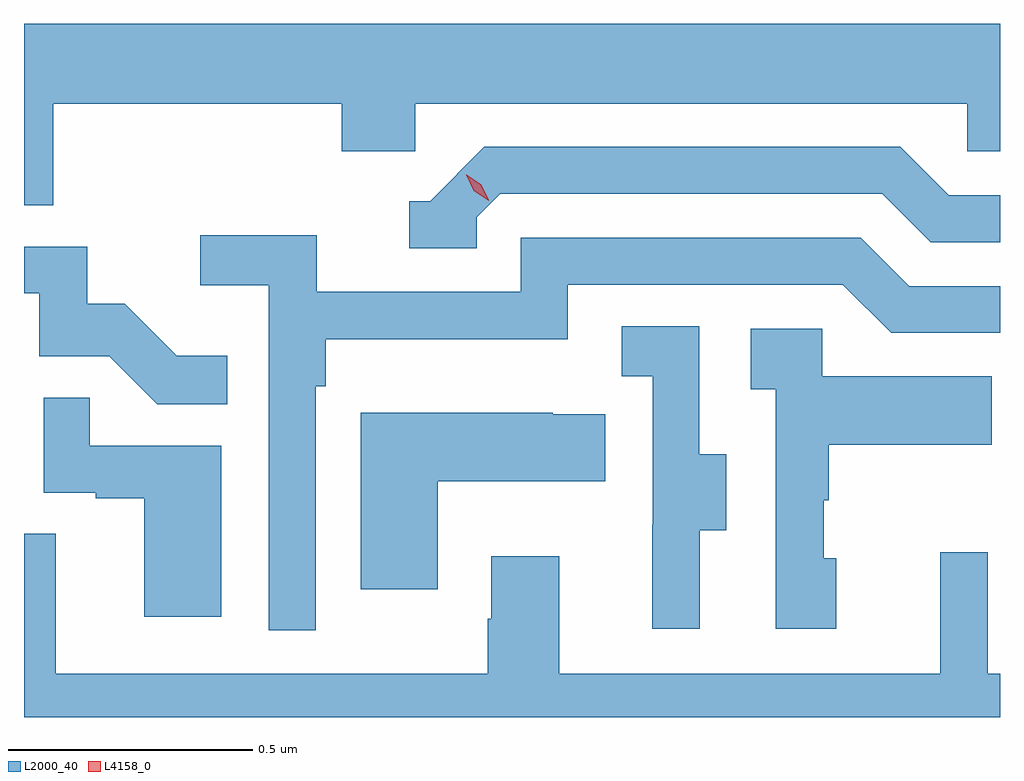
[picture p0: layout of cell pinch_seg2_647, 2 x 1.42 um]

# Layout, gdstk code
import gdstk
lib = gdstk.Library(unit=1e-6, precision=1e-09)
def P(c, l, *ps):  # polygons
    for p in ps: c.add(gdstk.Polygon(p, *l))
L2000_40 = (2000, 40)
L4158_0 = (4158, 0)

pinch_seg2_647 = lib.new_cell('pinch_seg2_647')
P(pinch_seg2_647, L2000_40, [(1068.92,586.364),(1069.511,586.364),(1069.511,586.266),(1069.662,586.266),(1069.662,586.364),(1070.793,586.364),(1070.793,586.266),(1070.86,586.266),(1070.86,586.528),(1068.86,586.528),(1068.86,586.156),(1068.92,586.156)],
  [(1069.788,586.131),(1069.836,586.179),(1070.619,586.179),(1070.718,586.08),(1070.86,586.08),(1070.86,586.176),(1070.755,586.176),(1070.656,586.275),(1069.803,586.275),(1069.692,586.164),(1069.649,586.164),(1069.649,586.068),(1069.788,586.068)],
  [(1069.458,585.785),(1069.478,585.785),(1069.478,585.881),(1069.974,585.881),(1069.974,585.993),(1070.538,585.993),(1070.637,585.894),(1070.86,585.894),(1070.86,585.99),(1070.674,585.99),(1070.575,586.089),(1069.878,586.089),(1069.878,585.978),(1069.46,585.978),(1069.46,586.094),(1069.221,586.094),(1069.221,585.992),(1069.362,585.992),(1069.362,585.285),(1069.458,585.285)],
  [(1069.277,585.847),(1069.173,585.847),(1069.066,585.954),(1068.99,585.954),(1068.99,586.071),(1068.86,586.071),(1068.86,585.975),(1068.891,585.975),(1068.891,585.846),(1069.035,585.846),(1069.133,585.748),(1069.277,585.748)],
  [(1070.245,585.49),(1070.299,585.49),(1070.299,585.645),(1070.244,585.645),(1070.244,585.908),(1070.085,585.908),(1070.085,585.805),(1070.148,585.805),(1070.148,585.501),(1070.147,585.501),(1070.147,585.288),(1070.245,585.288)],
  [(1070.524,585.432),(1070.499,585.432),(1070.499,585.551),(1070.509,585.551),(1070.509,585.665),(1070.843,585.665),(1070.843,585.805),(1070.496,585.805),(1070.496,585.903),(1070.349,585.903),(1070.349,585.779),(1070.4,585.779),(1070.4,585.288),(1070.524,585.288)],
  [(1069.264,585.663),(1068.995,585.663),(1068.995,585.761),(1068.9,585.761),(1068.9,585.567),(1069.007,585.567),(1069.007,585.555),(1069.106,585.555),(1069.106,585.312),(1069.264,585.312)],
  [(1069.708,585.59),(1070.051,585.59),(1070.051,585.727),(1069.943,585.727),(1069.943,585.73),(1069.55,585.73),(1069.55,585.369),(1069.708,585.369)],
  [(1070.86,585.196),(1070.835,585.196),(1070.835,585.445),(1070.738,585.445),(1070.738,585.196),(1069.957,585.196),(1069.957,585.436),(1069.817,585.436),(1069.817,585.308),(1069.81,585.308),(1069.81,585.196),(1068.925,585.196),(1068.925,585.482),(1068.86,585.482),(1068.86,585.106),(1070.86,585.106)])
P(pinch_seg2_647, L4158_0, [(1069.812,586.165),(1069.782,586.185),(1069.766,586.218),(1069.766,586.218),(1069.767,586.218),(1069.797,586.198),(1069.812,586.166),(1069.812,586.165)])

lib.write_gds('pinch_seg2_647.gds')
